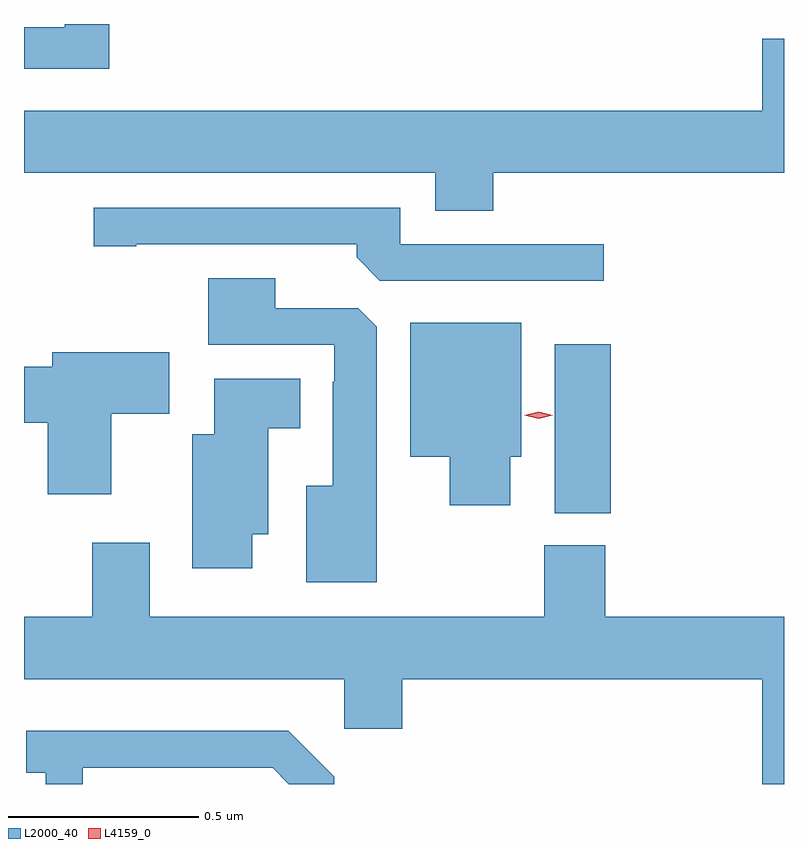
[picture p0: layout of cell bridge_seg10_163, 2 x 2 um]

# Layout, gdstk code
import gdstk
lib = gdstk.Library(unit=1e-6, precision=1e-09)
def R(c, l, rs):  # rectangles x0, y0, x1, y1
    for r in rs: c.add(gdstk.rectangle(r[:2], r[2:], *l))
def P(c, l, *ps):  # polygons
    for p in ps: c.add(gdstk.Polygon(p, *l))
L2000_40 = (2000, 40)
L4159_0 = (4159, 0)

bridge_seg10_163 = lib.new_cell('bridge_seg10_163')
R(bridge_seg10_163, L2000_40, [(248.378,1258.129,248.525,1258.573)])
P(bridge_seg10_163, L2000_40, [(247.205,1259.416),(247.088,1259.416),(247.088,1259.407),(246.981,1259.407),(246.981,1259.298),(247.205,1259.298)],
  [(248.216,1259.024),(248.981,1259.024),(248.981,1259.377),(248.924,1259.377),(248.924,1259.188),(246.981,1259.188),(246.981,1259.024),(248.063,1259.024),(248.063,1258.925),(248.216,1258.925)],
  [(248.506,1258.836),(247.971,1258.836),(247.971,1258.932),(247.164,1258.932),(247.164,1258.831),(247.276,1258.831),(247.276,1258.836),(247.856,1258.836),(247.856,1258.802),(247.917,1258.74),(248.506,1258.74)],
  [(247.909,1258.619),(247.86,1258.668),(247.642,1258.668),(247.642,1258.747),(247.466,1258.747),(247.466,1258.572),(247.797,1258.572),(247.797,1258.475),(247.793,1258.475),(247.793,1258.201),(247.724,1258.201),(247.724,1257.947),(247.909,1257.947)],
  [(248.26,1258.277),(248.29,1258.277),(248.29,1258.63),(247.997,1258.63),(247.997,1258.277),(248.102,1258.277),(248.102,1258.149),(248.26,1258.149)],
  [(247.21,1258.39),(247.363,1258.39),(247.363,1258.552),(247.055,1258.552),(247.055,1258.514),(246.981,1258.514),(246.981,1258.367),(247.043,1258.367),(247.043,1258.179),(247.21,1258.179)],
  [(247.582,1258.073),(247.624,1258.073),(247.624,1258.352),(247.708,1258.352),(247.708,1258.483),(247.481,1258.483),(247.481,1258.336),(247.424,1258.336),(247.424,1257.984),(247.582,1257.984)],
  [(248.981,1257.856),(248.51,1257.856),(248.51,1258.044),(248.35,1258.044),(248.35,1257.856),(247.312,1257.856),(247.312,1258.051),(247.16,1258.051),(247.16,1257.856),(246.981,1257.856),(246.981,1257.692),(247.824,1257.692),(247.824,1257.561),(247.976,1257.561),(247.976,1257.692),(248.924,1257.692),(248.924,1257.416),(248.981,1257.416)],
  [(247.135,1257.459),(247.635,1257.459),(247.678,1257.416),(247.797,1257.416),(247.797,1257.435),(247.676,1257.556),(246.987,1257.556),(246.987,1257.446),(247.038,1257.446),(247.038,1257.416),(247.135,1257.416)])
P(bridge_seg10_163, L4159_0, [(248.335,1258.377),(248.297,1258.387),(248.297,1258.387),(248.297,1258.387),(248.335,1258.396),(248.373,1258.386),(248.373,1258.386),(248.373,1258.386)])

lib.write_gds('bridge_seg10_163.gds')
